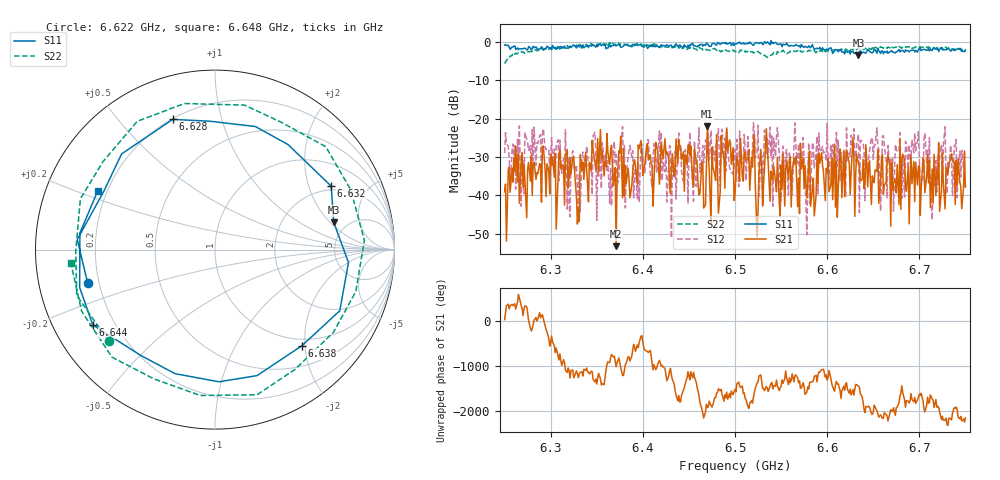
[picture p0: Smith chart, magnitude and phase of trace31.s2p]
# Hz S RI R 50
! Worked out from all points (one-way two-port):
!   401 points, 6.25 GHz to 6.75 GHz, reference 50 ohm
!   highest |S21| = -21.89 dB at 6.47 GHz (marker M1); lowest = -53.2 dB at 6.371 GHz (marker M2)
!   lowest |S11| = -3.4 dB at 6.634 GHz (marker M3), VSWR 5.23, Z = 196 + j110 ohm
!   |S11| at or under -10 dB: nowhere
!   |S22| runs from -5.6 to -0.1 dB; largest |S21 - S12| = 0.11
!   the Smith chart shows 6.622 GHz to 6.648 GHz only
!   S11 on the Smith chart (normalised r, x): 6.622 GHz: 0.16, -0.13; 6.628 GHz: 0.20, +0.71; 6.632 GHz: 1.83, +2.84; 6.638 GHz: 0.86, -1.93; 6.644 GHz: 0.12, -0.28; 6.648 GHz: 0.16, +0.23
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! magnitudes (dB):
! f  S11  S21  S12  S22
! 6.25 GHz  -0.8  -39.0  -28.9  -5.6
! 6.262 GHz  -1.9  -27.1  -38.4  -2.9
! 6.334 GHz  -1.6  -33.5  -29.9  -1.1
! 6.364 GHz  -0.7  -32.0  -42.0  -0.1
! 6.371 GHz  -1.0  -53.2  -29.4  -0.4
! 6.418 GHz  -1.3  -37.0  -23.2  -1.4
! 6.434 GHz  -1.1  -35.0  -35.2  -1.4
! 6.44 GHz  -0.7  -27.2  -28.1  -1.4
! 6.456 GHz  -0.8  -27.8  -25.8  -1.7
! 6.47 GHz  -0.5  -21.9  -25.9  -2.0
! 6.492 GHz  -0.4  -28.7  -27.8  -2.3
! 6.5 GHz  -0.4  -39.8  -28.0  -2.3
! 6.584 GHz  -0.6  -38.3  -26.2  -2.4
! 6.622 GHz  -2.7  -29.3  -30.8  -2.1
! 6.628 GHz  -2.4  -25.0  -28.7  -2.0
! 6.632 GHz  -2.6  -29.2  -26.9  -1.9
! 6.634 GHz  -3.4  -31.8  -24.0  -1.5
! 6.638 GHz  -2.8  -35.9  -25.8  -1.7
! 6.644 GHz  -1.9  -37.7  -34.3  -2.0
! 6.648 GHz  -2.7  -42.4  -25.0  -1.9
! 6.668 GHz  -2.5  -31.9  -32.6  -1.4
! 6.75 GHz  -2.0  -37.8  -30.2  -2.6
